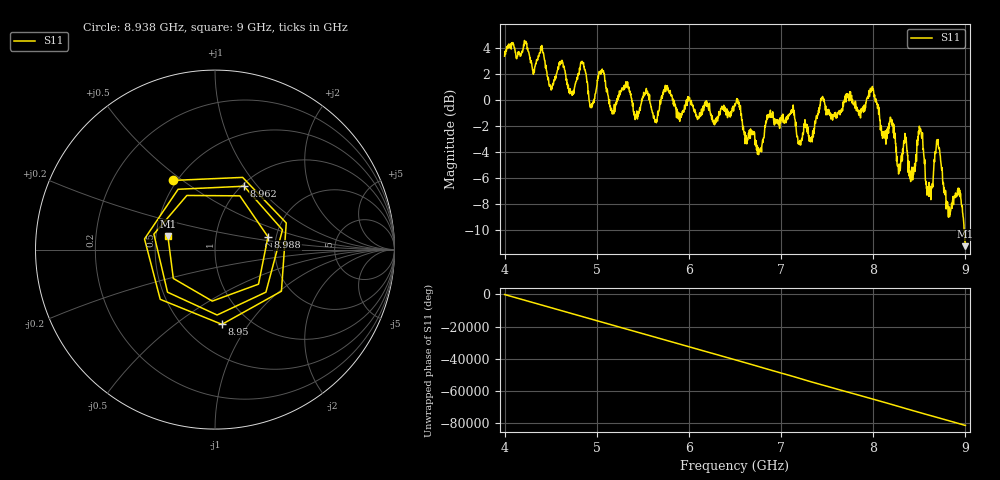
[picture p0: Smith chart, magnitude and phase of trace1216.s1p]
! Created with skrf 1.8.0 (http://scikit-rf.org).
# Hz S RI R 50.0
!freq ReS11 ImS11
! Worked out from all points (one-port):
!   1601 points, 4 GHz to 9 GHz, reference 50 ohm
!   lowest |S11| = -11.3 dB at 9 GHz (marker M1), VSWR 1.75, Z = 28.9 + j4.76 ohm
!   |S11| at or under -10 dB: 8.986041 GHz to end of sweep
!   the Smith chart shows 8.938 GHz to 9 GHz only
!   S11 on the Smith chart (normalised r, x): 8.938 GHz: 0.48, +0.46; 8.95 GHz: 0.75, -0.76; 8.962 GHz: 1.03, +0.85; 8.988 GHz: 1.81, +0.28; 9 GHz: 0.58, +0.10
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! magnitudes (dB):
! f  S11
! 4 GHz  3.4
! 4.506 GHz  0.8
! 4.625 GHz  2.9
! 4.728 GHz  0.4
! 4.85 GHz  2.8
! 4.944 GHz  -0.6
! 5.047 GHz  2.3
! 5.162 GHz  -0.9
! 5.25 GHz  0.7
! 5.875 GHz  -1.2
! 6.5 GHz  -0.3
! 6.762 GHz  -3.9
! 7.125 GHz  -0.7
! 7.206 GHz  -3.1
! 7.75 GHz  0.4
! 7.991 GHz  1.0
! 8.278 GHz  -5.6
! 8.375 GHz  -4.3
! 8.431 GHz  -5.5
! 8.509 GHz  -2.4
! 8.6 GHz  -6.8
! 8.697 GHz  -3.3
! 8.816 GHz  -9.0
! 8.938 GHz  -6.9
! 8.95 GHz  -7.6
! 8.962 GHz  -8.2
! 8.988 GHz  -10.4
! 9 GHz  -11.3
